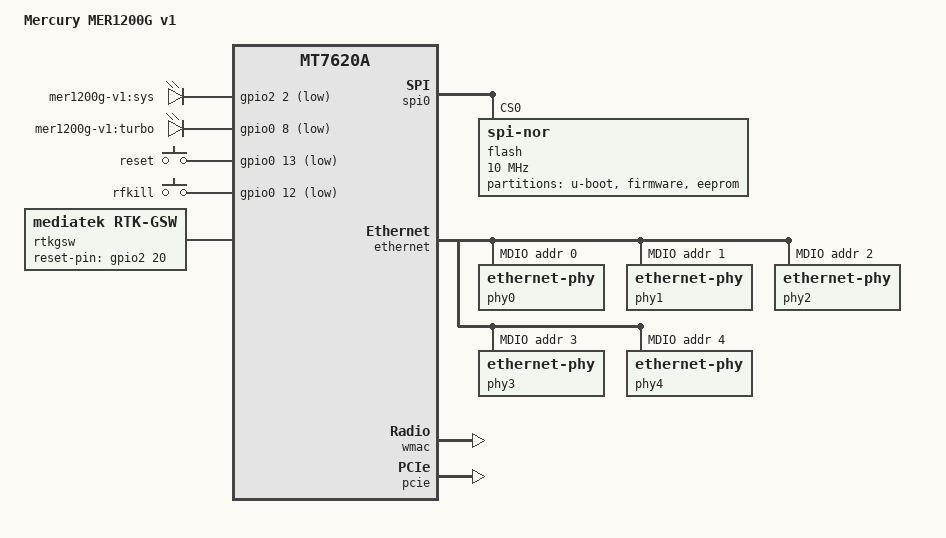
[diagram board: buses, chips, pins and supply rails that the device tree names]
/dts-v1/;

#include "mt7620a.dtsi"

#include <dt-bindings/gpio/gpio.h>
#include <dt-bindings/input/input.h>

/ {
	compatible = "mercury,mer1200g-v1", "ralink,mt7620a-soc";
	model = "Mercury MER1200G v1";

	aliases {
		led-boot = &led_sys;
		led-failsafe = &led_sys;
		led-running = &led_sys;
		led-upgrade = &led_sys;
	};

	chosen {
		bootargs = "console=ttyS0,115200";
	};

	leds {
		compatible = "gpio-leds";

		led_sys: sys {
			label = "mer1200g-v1:sys";
			gpios = <&gpio2 2 GPIO_ACTIVE_LOW>;
			default-state = "on";
		};

		turbo {
			label = "mer1200g-v1:turbo";
			gpios = <&gpio0 8 GPIO_ACTIVE_LOW>;
			default-state = "off";
		};
	};

	keys {
		compatible = "gpio-keys-polled";
		poll-interval = <20>;

		reset {
			label = "reset";
			gpios = <&gpio0 13 GPIO_ACTIVE_LOW>;
			linux,code = <KEY_RESTART>;
		};

		rfkill {
			label = "rfkill";
			gpios = <&gpio0 12 GPIO_ACTIVE_LOW>;
			linux,code = <KEY_RFKILL>;
		};
	};

	rtkgsw {
		compatible = "mediatek,rtk-gsw";
		mediatek,mdio = <&mdio0>;
		mediatek,reset-pin = <&gpio2 20 GPIO_ACTIVE_HIGH>;
	};
};

&gpio0 {
	status = "okay";
};

&gpio1 {
	status = "okay";
};

&gpio2 {
	status = "okay";
};

&spi0 {
	status = "okay";

	flash@0 {
		compatible = "jedec,spi-nor";
		reg = <0>;
		spi-max-frequency = <10000000>;

		partitions {
			compatible = "fixed-partitions";
			#address-cells = <1>;
			#size-cells = <1>;

			partition@0 {
				label = "u-boot";
				reg = <0x0 0x20000>;
				read-only;
			};

			partition@20000 {
				compatible = "tplink,firmware";
				label = "firmware";
				reg = <0x20000 0xfd0000>;
			};

			eeprom: partition@ff0000 {
				label = "eeprom";
				reg = <0xff0000 0x10000>;
			};
		};
	};
};

&pinctrl {
	state_default: pinctrl0 {
		gpio {
			ralink,group = "i2c", "uartf", "ephy", "rgmii2";
			ralink,function = "gpio";
		};
	};
};

&ethernet {
	pinctrl-names = "default";
	pinctrl-0 = <&rgmii1_pins &mdio_pins>;

	port@5 {
		status = "okay";
		mediatek,fixed-link = <1000 1 1 1>;
		phy-mode = "rgmii";
	};

	mdio0: mdio-bus {
		status = "okay";
		phy0: ethernet-phy@0 {
			reg = <0>;
			phy-mode = "rgmii";
		};

		phy1: ethernet-phy@1 {
			reg = <1>;
			phy-mode = "rgmii";
		};

		phy2: ethernet-phy@2 {
			reg = <2>;
			phy-mode = "rgmii";
		};

		phy3: ethernet-phy@3 {
			reg = <3>;
			phy-mode = "rgmii";
		};

		phy4: ethernet-phy@4 {
			reg = <4>;
			phy-mode = "rgmii";
		};
	};
};

&wmac {
	ralink,mtd-eeprom = <&eeprom 0>;
};

&pcie {
	status = "okay";
};

&pcie0 {
	mt76@0,0 {
		reg = <0x0000 0 0 0 0>;
		mediatek,mtd-eeprom = <&eeprom 0x8000>;
		ieee80211-freq-limit = <5000000 6000000>;
	};
};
